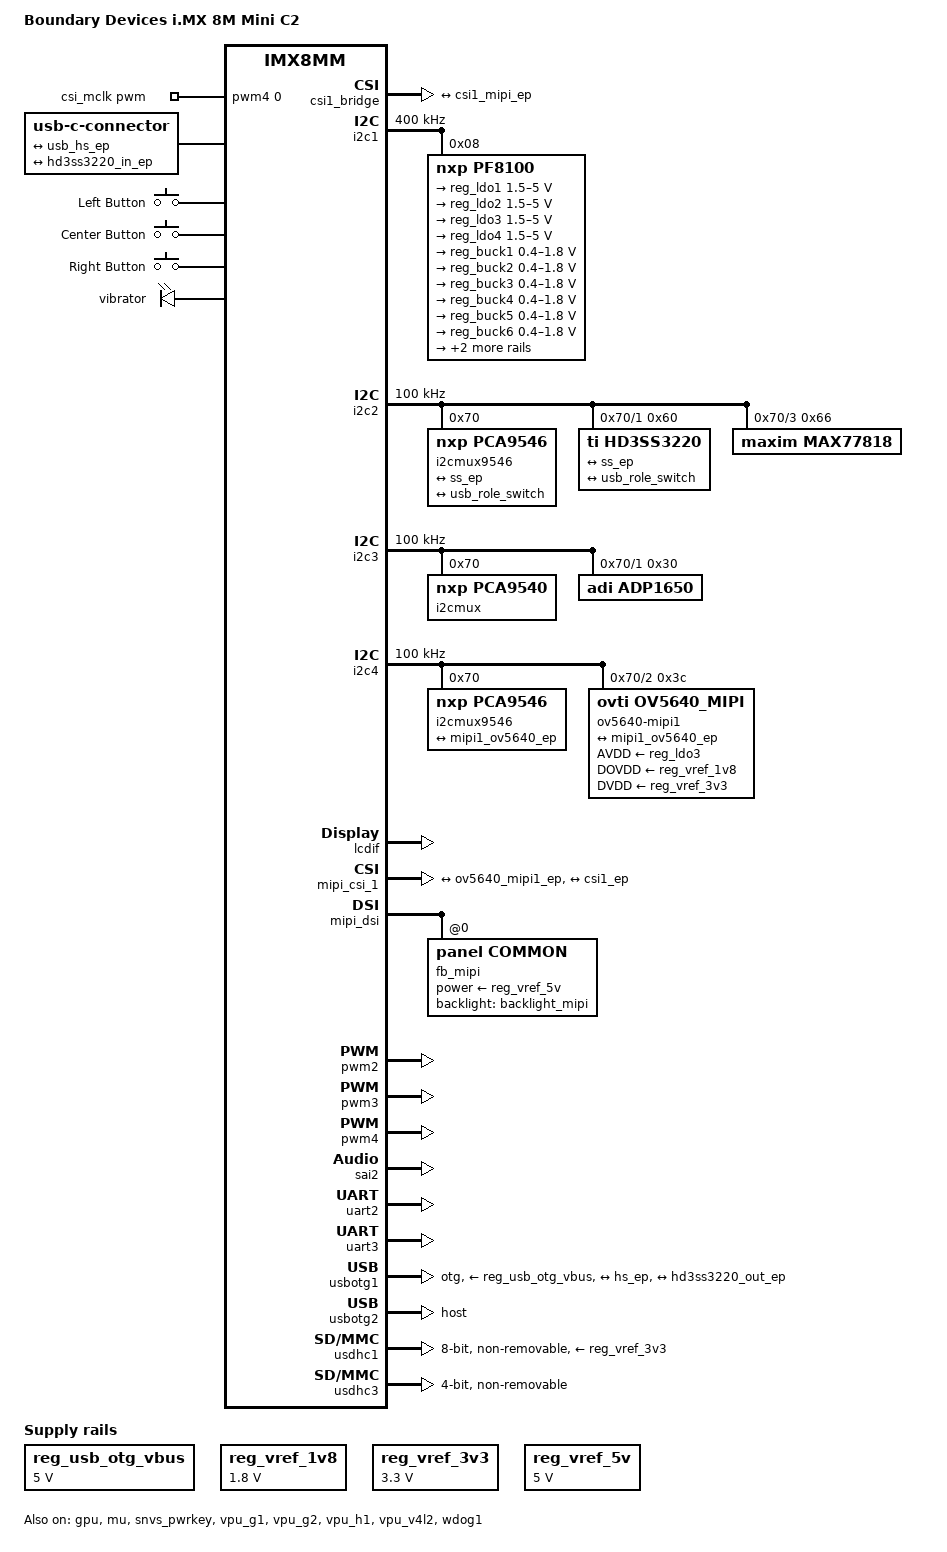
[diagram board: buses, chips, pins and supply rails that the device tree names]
// SPDX-License-Identifier: (GPL-2.0+ OR MIT)
/*
 * Copyright 2021 Boundary Devices
 */

/dts-v1/;
#include "imx8mm.dtsi"
#define MX8MMN(a, b)	MX8MM_##a b
#define IMX8MMN(a)	IMX8MM_##a
#include "../panel-dlc0350gev06.dtsi"

&iomuxc {
	pinctrl-names = "default";
	pinctrl-0 = <&pinctrl_hog>;

	pinctrl_bt_rfkill: bt-rfkillgrp {
		fsl,pins = <
#define GP_BT_RFKILL_RESET	<&gpio3 14 GPIO_ACTIVE_LOW>
			MX8MMN(IOMUXC_NAND_DQS_GPIO3_IO14, 0x119)
		>;
	};

	pinctrl_gpio_keys: gpio-keysgrp {
		fsl,pins = <
#define GP_GPIOKEY_LEFT		<&gpio3 6 GPIO_ACTIVE_LOW>
			MX8MMN(IOMUXC_NAND_DATA00_GPIO3_IO6, 0x149)
#define GP_GPIOKEY_CENTER	<&gpio1 8 GPIO_ACTIVE_LOW>
			MX8MMN(IOMUXC_GPIO1_IO08_GPIO1_IO8, 0x149)
#define GP_GPIOKEY_RIGHT	<&gpio1 6 GPIO_ACTIVE_LOW>
			MX8MMN(IOMUXC_GPIO1_IO06_GPIO1_IO6, 0x149)
		>;
	};

	pinctrl_hog: hoggrp {
		fsl,pins = <
			/* JS_PIN6 */
			MX8MMN(IOMUXC_GPIO1_IO14_GPIO1_IO14, 0x149)

			/* Finger Print */
#define GP_USBOTG2_EN  <&gpio3 23 GPIO_ACTIVE_HIGH>
            MX8MMN(IOMUXC_SAI5_RXD2_GPIO3_IO23, 0x09) /* SAI5_RXD2 */

                        MX8MMN(IOMUXC_SD2_DATA3_GPIO2_IO18, 0x9)
                        MX8MMN(IOMUXC_SD2_DATA2_GPIO2_IO17, 0x09)       /* Internal Pullup disabled  */
                        MX8MMN(IOMUXC_SD2_DATA1_GPIO2_IO16, 0x09)       /* Internal Pullup disabled  */
                        MX8MMN(IOMUXC_SD2_DATA0_GPIO2_IO15, 0x09)       /* Internal Pullup disabled  */
                        MX8MMN(IOMUXC_SAI5_RXFS_GPIO3_IO19, 0x109)

#define GP_REG_WLAN_VMMC        <&gpio5 1 GPIO_ACTIVE_HIGH>
                        MX8MMN(IOMUXC_SAI3_TXD_GPIO5_IO1, 0x16)
		>;
	};

	pinctrl_i2c1: i2c1grp {
		fsl,pins = <
			MX8MMN(IOMUXC_I2C1_SCL_I2C1_SCL, 0x400000c3)
			MX8MMN(IOMUXC_I2C1_SDA_I2C1_SDA, 0x400000c3)
		>;
	};

	pinctrl_i2c1_1: i2c1_1grp {
		fsl,pins = <
#define GP_I2C1_SCL	<&gpio5 14 GPIO_OPEN_DRAIN>
			MX8MMN(IOMUXC_I2C1_SCL_GPIO5_IO14, 0x400000c3)
#define GP_I2C1_SDA	<&gpio5 15 GPIO_OPEN_DRAIN>
			MX8MMN(IOMUXC_I2C1_SDA_GPIO5_IO15, 0x400000c3)
		>;
	};

	pinctrl_i2c1_pf8100: i2c1-pf8100grp {
		fsl,pins = <
#define GP_I2C1_PF8100_EWARN	<&gpio3 3 GPIO_ACTIVE_LOW>
			MX8MMN(IOMUXC_NAND_CE2_B_GPIO3_IO3, 0x149)
#define GP_I2C1_PF8100_FAULT	<&gpio3 4 GPIO_ACTIVE_LOW>
			MX8MMN(IOMUXC_NAND_CE3_B_GPIO3_IO4, 0x149)
		>;
	};

	pinctrl_i2c2: i2c2grp {
		fsl,pins = <
			MX8MMN(IOMUXC_I2C2_SCL_I2C2_SCL, 0x400000c3)
			MX8MMN(IOMUXC_I2C2_SDA_I2C2_SDA, 0x400000c3)
		>;
	};

        pinctrl_i2c2_pca9546: i2c2-pca9546grp {
                fsl,pins = <
#define GP_I2C2_PCA9546_RESET   <&gpio1 9 GPIO_ACTIVE_LOW>
                MX8MMN(IOMUXC_GPIO1_IO09_GPIO1_IO9, 0x106)
                >;
        };

	pinctrl_i2c2_1: i2c2_1grp {
		fsl,pins = <
#define GP_I2C2_SCL	<&gpio5 16 GPIO_OPEN_DRAIN>
			MX8MMN(IOMUXC_I2C2_SCL_GPIO5_IO16, 0x400000c3)
#define GP_I2C2_SDA	<&gpio5 17 GPIO_OPEN_DRAIN>
			MX8MMN(IOMUXC_I2C2_SDA_GPIO5_IO17, 0x400000c3)
		>;
	};

	pinctrl_i2c2_hd3ss3220: i2c2-hd3ss3220grp {
		fsl,pins = <
#define GPIRQ_HD3SS3220	<&gpio3 25 IRQ_TYPE_LEVEL_LOW>
			MX8MMN(IOMUXC_SAI5_MCLK_GPIO3_IO25, 0x1c0)
		>;
	};

	pinctrl_i2c2_max77818: i2c2-max77818grp {
		fsl,pins = <
#define GPIRQ_MAX77818_WCHG_VALID_INT	<&gpio5 0 IRQ_TYPE_LEVEL_LOW>
			MX8MMN(IOMUXC_SAI3_TXC_GPIO5_IO0, 0x149)
#define GPIRQ_MAX77818_CHG_INT          <&gpio1 5 IRQ_TYPE_LEVEL_LOW>
                        MX8MMN(IOMUXC_GPIO1_IO05_GPIO1_IO5, 0x149)
		>;
	};

	pinctrl_i2c3: i2c3grp {
		fsl,pins = <
			MX8MMN(IOMUXC_I2C3_SCL_I2C3_SCL, 0x400000c3)
			MX8MMN(IOMUXC_I2C3_SDA_I2C3_SDA, 0x400000c3)
		>;
	};

	pinctrl_i2c3_1: i2c3_1grp {
		fsl,pins = <
#define GP_I2C3_SCL	<&gpio5 18 GPIO_OPEN_DRAIN>
			MX8MMN(IOMUXC_I2C3_SCL_GPIO5_IO18, 0x400000c3)
#define GP_I2C3_SDA	<&gpio5 19 GPIO_OPEN_DRAIN>
			MX8MMN(IOMUXC_I2C3_SDA_GPIO5_IO19, 0x400000c3)
		>;
	};

	pinctrl_sn65dsi83: sn65dsi83grp {
		fsl,pins = <
#define GPIRQ_SN65DSI83	<&gpio1 1 IRQ_TYPE_LEVEL_HIGH>
			MX8MMN(IOMUXC_GPIO1_IO01_GPIO1_IO1, 0x04)
		>;
	};

	pinctrl_ts_gt911: ts-gt911grp {
		fsl,pins = <
#define GPIRQ_GT911 		<&gpio5 22 IRQ_TYPE_LEVEL_HIGH>
#define GP_GT911_IRQ 		<&gpio5 22 GPIO_ACTIVE_HIGH>
			MX8MMN(IOMUXC_UART1_RXD_GPIO5_IO22, 0x1d6)
			/* driver writes levels, instead of active/inactive */
#define GP_GT911_RESET		<&gpio5 23 GPIO_ACTIVE_HIGH>
			MX8MMN(IOMUXC_UART1_TXD_GPIO5_IO23, 0x149)
		>;
	};

	pinctrl_ts_ft5x06: ts-ft5x06grp {
		fsl,pins = <
#define GPIRQ_TS_FT5X06	<&gpio5 22 IRQ_TYPE_EDGE_FALLING>
#define GP_TS_FT5X06_WAKE	<&gpio5 22 GPIO_ACTIVE_LOW>
			MX8MMN(IOMUXC_UART1_RXD_GPIO5_IO22, 0x149)
#define GP_TS_FT5X06_RESET	<&gpio5 23 GPIO_ACTIVE_LOW>
			MX8MMN(IOMUXC_UART1_TXD_GPIO5_IO23, 0x109)
		>;
	};

	pinctrl_i2c3b_adp1650: i2c3b-adp1650grp {
		fsl,pins = <
#define GP_FLASH_EN		<&gpio3 21 GPIO_ACTIVE_HIGH>
			MX8MMN(IOMUXC_SAI5_RXD0_GPIO3_IO21, 0x109)
#define GP_FLASH_STROBE		<&gpio3 22 GPIO_ACTIVE_HIGH>
			MX8MMN(IOMUXC_SAI5_RXD1_GPIO3_IO22, 0x109)
#define GP_TORCH_EN		<&gpio5 29 GPIO_ACTIVE_HIGH>
			MX8MMN(IOMUXC_UART4_TXD_GPIO5_IO29, 0x109)
		>;
	};

	pinctrl_i2c4: i2c4grp {
		fsl,pins = <
			MX8MMN(IOMUXC_I2C4_SCL_I2C4_SCL, 0x400000c3)
			MX8MMN(IOMUXC_I2C4_SDA_I2C4_SDA, 0x400000c3)
		>;
	};

	pinctrl_i2c4_1: i2c4_1grp {
		fsl,pins = <
#define GP_I2C4_SCL	<&gpio5 20 GPIO_OPEN_DRAIN>
			MX8MMN(IOMUXC_I2C4_SCL_GPIO5_IO20, 0x400000c3)
#define GP_I2C4_SDA	<&gpio5 21 GPIO_OPEN_DRAIN>
			MX8MMN(IOMUXC_I2C4_SDA_GPIO5_IO21, 0x400000c3)
		>;
	};

	pinctrl_i2c4_ov5640_mipi: i2c4-ov5640-mipigrp {
		fsl,pins = <
#define GP_OV5640_MIPI_RESET		<&gpio1 10 GPIO_ACTIVE_LOW>
			MX8MMN(IOMUXC_GPIO1_IO10_GPIO1_IO10, 0x101)
#define GP_OV5640_MIPI_POWER_DOWN	<&gpio1 11 GPIO_ACTIVE_HIGH>
			MX8MMN(IOMUXC_GPIO1_IO11_GPIO1_IO11, 0x141)
		>;
	};

	pinctrl_leds: ledsgrp {
		fsl,pins = <
#define GP_LED_VIBRATOR		<&gpio3 24 GPIO_ACTIVE_HIGH>
			MX8MMN(IOMUXC_SAI5_RXD3_GPIO3_IO24, 0x109)
		>;
	};

	pinctrl_pwm2: pwm2grp {
		fsl,pins = <
			MX8MMN(IOMUXC_SPDIF_RX_PWM2_OUT, 0x16)
		>;
	};


	pinctrl_mipi_dlc0350gev06: mipi-dlc0350gev06grp {
		fsl,pins = <
/* Reset pin used as enable */
#define GP_DLC0350_ENABLE	<&gpio1 3 GPIO_ACTIVE_HIGH>
			MX8MMN(IOMUXC_GPIO1_IO03_GPIO1_IO3, 0x10)
		>;
	};


	pinctrl_pwm3: pwm3grp {
		fsl,pins = <
			MX8MMN(IOMUXC_SPDIF_TX_PWM3_OUT, 0x16)
		>;
	};

	pinctrl_pwm4: pwm4grp {
		fsl,pins = <
			MX8MMN(IOMUXC_SAI3_MCLK_PWM4_OUT, 0x16)
		>;
	};

	pinctrl_sai2: sai2grp {
		fsl,pins = <
			/* Bluetooth PCM */
			MX8MMN(IOMUXC_SAI2_TXFS_SAI2_TX_SYNC, 0xd6)
			MX8MMN(IOMUXC_SAI2_TXC_SAI2_TX_BCLK, 0xd6)
			MX8MMN(IOMUXC_SAI2_TXD0_SAI2_TX_DATA0, 0xd6)
			MX8MMN(IOMUXC_SAI2_RXD0_SAI2_RX_DATA0, 0xd6)
		>;
	};

	pinctrl_uart2: uart2grp {
		fsl,pins = <
			MX8MMN(IOMUXC_UART2_RXD_UART2_DCE_RX, 0x140)
			MX8MMN(IOMUXC_UART2_TXD_UART2_DCE_TX, 0x140)
		>;
	};

	pinctrl_uart3: uart3grp {
		fsl,pins = <
			MX8MMN(IOMUXC_ECSPI1_SCLK_UART3_DCE_RX, 0x140)
			MX8MMN(IOMUXC_ECSPI1_MOSI_UART3_DCE_TX, 0x140)
			MX8MMN(IOMUXC_ECSPI1_SS0_UART3_DCE_RTS_B, 0x140)
			MX8MMN(IOMUXC_ECSPI1_MISO_UART3_DCE_CTS_B, 0x140)
		>;
	};

	pinctrl_usbotg1: usbotg1grp {
		fsl,pins = <
			MX8MMN(IOMUXC_GPIO1_IO12_USB1_OTG_PWR, 0x16)
			MX8MMN(IOMUXC_GPIO1_IO13_USB1_OTG_OC, 0x156)
		>;
	};

	pinctrl_usdhc1: usdhc1grp {
		fsl,pins = <
			MX8MMN(IOMUXC_SD1_CLK_USDHC1_CLK, 0x190)
			MX8MMN(IOMUXC_SD1_CMD_USDHC1_CMD, 0x1d0)
			MX8MMN(IOMUXC_SD1_DATA0_USDHC1_DATA0, 0x1d0)
			MX8MMN(IOMUXC_SD1_DATA1_USDHC1_DATA1, 0x1d0)
			MX8MMN(IOMUXC_SD1_DATA2_USDHC1_DATA2, 0x1d0)
			MX8MMN(IOMUXC_SD1_DATA3_USDHC1_DATA3, 0x1d0)
			MX8MMN(IOMUXC_SD1_DATA4_USDHC1_DATA4, 0x1d0)
			MX8MMN(IOMUXC_SD1_DATA5_USDHC1_DATA5, 0x1d0)
			MX8MMN(IOMUXC_SD1_DATA6_USDHC1_DATA6, 0x1d0)
			MX8MMN(IOMUXC_SD1_DATA7_USDHC1_DATA7, 0x1d0)
#define GP_EMMC_RESET		<&gpio2 10 GPIO_ACTIVE_LOW>
			MX8MMN(IOMUXC_SD1_RESET_B_GPIO2_IO10, 0x141)
		>;
	};

	pinctrl_usdhc1_100mhz: usdhc1grp100mhz {
		fsl,pins = <
			MX8MMN(IOMUXC_SD1_CLK_USDHC1_CLK, 0x194)
			MX8MMN(IOMUXC_SD1_CMD_USDHC1_CMD, 0x1d4)
			MX8MMN(IOMUXC_SD1_DATA0_USDHC1_DATA0, 0x1d4)
			MX8MMN(IOMUXC_SD1_DATA1_USDHC1_DATA1, 0x1d4)
			MX8MMN(IOMUXC_SD1_DATA2_USDHC1_DATA2, 0x1d4)
			MX8MMN(IOMUXC_SD1_DATA3_USDHC1_DATA3, 0x1d4)
			MX8MMN(IOMUXC_SD1_DATA4_USDHC1_DATA4, 0x1d4)
			MX8MMN(IOMUXC_SD1_DATA5_USDHC1_DATA5, 0x1d4)
			MX8MMN(IOMUXC_SD1_DATA6_USDHC1_DATA6, 0x1d4)
			MX8MMN(IOMUXC_SD1_DATA7_USDHC1_DATA7, 0x1d4)
		>;
	};

	pinctrl_usdhc1_200mhz: usdhc1grp200mhz {
		fsl,pins = <
			MX8MMN(IOMUXC_SD1_CLK_USDHC1_CLK, 0x196)
			MX8MMN(IOMUXC_SD1_CMD_USDHC1_CMD, 0x1d6)
			MX8MMN(IOMUXC_SD1_DATA0_USDHC1_DATA0, 0x1d6)
			MX8MMN(IOMUXC_SD1_DATA1_USDHC1_DATA1, 0x1d6)
			MX8MMN(IOMUXC_SD1_DATA2_USDHC1_DATA2, 0x1d6)
			MX8MMN(IOMUXC_SD1_DATA3_USDHC1_DATA3, 0x1d6)
			MX8MMN(IOMUXC_SD1_DATA4_USDHC1_DATA4, 0x1d6)
			MX8MMN(IOMUXC_SD1_DATA5_USDHC1_DATA5, 0x1d6)
			MX8MMN(IOMUXC_SD1_DATA6_USDHC1_DATA6, 0x1d6)
			MX8MMN(IOMUXC_SD1_DATA7_USDHC1_DATA7, 0x1d6)
		>;
	};

	pinctrl_usdhc3: usdhc3grp {
		fsl,pins = <
			MX8MMN(IOMUXC_NAND_WE_B_USDHC3_CLK, 0x190)
			MX8MMN(IOMUXC_NAND_WP_B_USDHC3_CMD, 0x1d0)
			MX8MMN(IOMUXC_NAND_DATA04_USDHC3_DATA0, 0x1d0)
			MX8MMN(IOMUXC_NAND_DATA05_USDHC3_DATA1, 0x1d0)
			MX8MMN(IOMUXC_NAND_DATA06_USDHC3_DATA2, 0x1d0)
			MX8MMN(IOMUXC_NAND_DATA07_USDHC3_DATA3, 0x1d0)
			/* Bluetooth slow clock */
			MX8MMN(IOMUXC_GPIO1_IO00_ANAMIX_REF_CLK_32K, 0x03)
			MX8MMN(IOMUXC_SAI2_RXFS_GPIO4_IO21, 0x1c0)  /* wake host */
			MX8MMN(IOMUXC_GPIO1_IO04_GPIO1_IO4, 0x1c0)  /* bt wake */
		>;
	};

	pinctrl_usdhc3_100mhz: usdhc3grp100mhz {
		fsl,pins = <
			MX8MMN(IOMUXC_NAND_WE_B_USDHC3_CLK, 0x194)
			MX8MMN(IOMUXC_NAND_WP_B_USDHC3_CMD, 0x1d4)
			MX8MMN(IOMUXC_NAND_DATA04_USDHC3_DATA0, 0x1d4)
			MX8MMN(IOMUXC_NAND_DATA05_USDHC3_DATA1, 0x1d4)
			MX8MMN(IOMUXC_NAND_DATA06_USDHC3_DATA2, 0x1d4)
			MX8MMN(IOMUXC_NAND_DATA07_USDHC3_DATA3, 0x1d4)

			/* Bluetooth slow clock */
			MX8MMN(IOMUXC_GPIO1_IO00_ANAMIX_REF_CLK_32K, 0x03)
			MX8MMN(IOMUXC_SAI2_RXFS_GPIO4_IO21, 0x1c0)  /* wake host */
			MX8MMN(IOMUXC_GPIO1_IO04_GPIO1_IO4, 0x1c0)  /* bt wake */
		>;
	};

	pinctrl_usdhc3_200mhz: usdhc3grp200mhz {
		fsl,pins = <
			MX8MMN(IOMUXC_NAND_WE_B_USDHC3_CLK, 0x196)
			MX8MMN(IOMUXC_NAND_WP_B_USDHC3_CMD, 0x1d6)
			MX8MMN(IOMUXC_NAND_DATA04_USDHC3_DATA0, 0x1d6)
			MX8MMN(IOMUXC_NAND_DATA05_USDHC3_DATA1, 0x1d6)
			MX8MMN(IOMUXC_NAND_DATA06_USDHC3_DATA2, 0x1d6)
			MX8MMN(IOMUXC_NAND_DATA07_USDHC3_DATA3, 0x1d6)
			/* Bluetooth slow clock */
			MX8MMN(IOMUXC_GPIO1_IO00_ANAMIX_REF_CLK_32K, 0x03)
			MX8MMN(IOMUXC_SAI2_RXFS_GPIO4_IO21, 0x1c0)  /* wake host */
			MX8MMN(IOMUXC_GPIO1_IO04_GPIO1_IO4, 0x1c0)  /* bt wake */
		>;
	};

	pinctrl_wdog: wdoggrp {
		fsl,pins = <
			MX8MMN(IOMUXC_GPIO1_IO02_WDOG1_WDOG_B, 0x140)
		>;
	};
};

/ {
	model = "Boundary Devices i.MX 8M Mini C2";
	compatible = "boundary,imx8mm-c2", "fsl,imx8mm";

	aliases {
		backlight_mipi = &backlight_mipi;
		backlight_mipi_alt = &backlight_mipi_alt;
		fb_mipi = &fb_mipi;
		lcdif = &lcdif;
		mipi = &fb_mipi;
		mipi_dsi = &mipi_dsi;
		mipi_to_lvds = &mipi_to_lvds;
		pwm_mipi = &pwm3;
		t_mipi = &t_mipi;
		ts_ft5x06 = &ts_ft5x06;
		ts_goodix = &ts_goodix;
	};

	backlight_mipi: backlight-mipi {
		alias = <&backlight_mipi>;
		brightness-levels = <0 1 2 3 4 5 6 7 8 9 10>;
		compatible = "pwm-backlight";
		default-brightness-level = <8>;
		display = <&display_subsystem>;
		pwms = <&pwm2 0 30000 0>;		/* 33.3 Khz */
		status = "disabled";
	};

	backlight_mipi_alt: backlight-mipi-alt {
		alias = <&backlight_mipi_alt>;
		brightness-levels = <0 1 2 3 4 5 6 7 8 9 10>;
		compatible = "pwm-backlight";
		default-brightness-level = <8>;
		display = <&display_subsystem>;
		pwms = <&pwm3 0 30000 0>;		/* 33.3 Khz */
		status = "disabled";
	};

	bt-rfkill {
		compatible = "rfkill-gpio";
		pinctrl-names = "default";
		pinctrl-0 = <&pinctrl_bt_rfkill>;
		name = "bt-rfkill";
		type = "bluetooth"; //<2>; /* Bluetooth */
		reset-gpios = GP_BT_RFKILL_RESET;
		status = "okay";
	};

	aml_bt: aml_bt {
		compatible = "amlogic,aml-bt";
		status = "okay";
		reset-gpios = GP_BT_RFKILL_RESET;
	};

	csi_mclk: csi-mclk {
		compatible = "pwm-clock";
		#clock-cells = <0>;
		clock-frequency = <20000000>;
		clock-output-names = "csi_mclk";
		pwms = <&pwm4 0 50 0>; /* 1 / 50 ns = 20 MHz */
	};

	connector {
		compatible = "usb-c-connector";
		label = "USB-C";
		data-role = "dual";

		ports {
			#address-cells = <1>;
			#size-cells = <0>;

			port@0 {
				reg = <0>;
				hs_ep: endpoint {
					remote-endpoint = <&usb_hs_ep>;
				};
			};

			port@1 {
				reg = <1>;
				ss_ep: endpoint {
					remote-endpoint = <&hd3ss3220_in_ep>;
				};
			};
		};
	};

	gpio-keys {
		compatible = "gpio-keys";
		pinctrl-names = "default";
		pinctrl-0 = <&pinctrl_gpio_keys>;

		left {
			label = "Left Button";
			gpios = GP_GPIOKEY_LEFT;
			linux,code = <KEY_BACK>;
			gpio-key,wakeup;
		};

		center {
			label = "Center Button";
			gpios = GP_GPIOKEY_CENTER;
			linux,code = <KEY_MENU>;
			gpio-key,wakeup;
		};

		right {
			label = "Right Button";
			gpios = GP_GPIOKEY_RIGHT;
			linux,code = <KEY_FORWARD>;
			gpio-key,wakeup;
		};
	};

	leds: leds {
		compatible = "gpio-leds";
		pinctrl-names = "default";
		pinctrl-0 = <&pinctrl_leds>;

		vibrator {
			gpios = GP_LED_VIBRATOR;
			default-state = "off";
			linux,default-trigger = "transient";
		};
	};

        reg_usb_otg_vbus: regulator-usb-otg-vbus {
                compatible = "regulator-fixed";
                regulator-name = "usb_otg_vbus";
                regulator-min-microvolt = <5000000>;
                regulator-max-microvolt = <5000000>;
                regulator-boot-on;
                regulator-always-on;
        };

	reg_vref_1v8: regulator-vref-1v8 {
		compatible = "regulator-fixed";
		regulator-name = "vref-1v8";
		regulator-min-microvolt = <1800000>;
		regulator-max-microvolt = <1800000>;
	};

	reg_vref_3v3: regulator-vref-3v3 {
		compatible = "regulator-fixed";
		regulator-name = "vref-3v3";
		regulator-min-microvolt = <3300000>;
		regulator-max-microvolt = <3300000>;
	};

	reg_vref_5v: regulator-vref-5v {
		compatible = "regulator-fixed";
		regulator-name = "vref-5v";
		regulator-min-microvolt = <5000000>;
		regulator-max-microvolt = <5000000>;
	};
};

&A53_0 {
	cpu-supply = <&reg_buck3>;
};

&gpu {
	status = "okay";
};

&csi1_bridge {
	fsl,mipi-mode;
	status = "okay";

	port {
		csi1_ep: endpoint {
			remote-endpoint = <&csi1_mipi_ep>;
		};
	};
};

&i2c1 {
	clock-frequency = <400000>;
	pinctrl-names = "default", "gpio";
	pinctrl-0 = <&pinctrl_i2c1>;
	pinctrl-1 = <&pinctrl_i2c1_1>;
	scl-gpios = GP_I2C1_SCL;
	sda-gpios = GP_I2C1_SDA;
	status = "okay";

	pf8100@8 {
		compatible = "nxp,pf8100";
		pinctrl-names = "default";
		pinctrl-0 = <&pinctrl_i2c1_pf8100>;
		reg = <0x08>;

		regulators {
			reg_ldo1: ldo1 {
				regulator-always-on;
				regulator-boot-on;
				regulator-max-microvolt = <5000000>;
				regulator-min-microvolt = <1500000>;
			};

			reg_ldo2: ldo2 {
				regulator-always-on;
				regulator-boot-on;
				regulator-max-microvolt = <5000000>;
				regulator-min-microvolt = <1500000>;
#if 0
				/* vselect low is 3.3V, high is 1.8V */
				vselect-en;
#endif
			};

			reg_ldo3: ldo3 {
				regulator-always-on;
				regulator-boot-on;
				regulator-max-microvolt = <5000000>;
				regulator-min-microvolt = <1500000>;
			};

			reg_ldo4: ldo4 {
				regulator-always-on;
				regulator-boot-on;
				regulator-max-microvolt = <5000000>;
				regulator-min-microvolt = <1500000>;
			};

			reg_buck1: buck1 {
				nxp,phase-shift = <0>;
				regulator-max-microamp = <4500000>;
				regulator-always-on;
				regulator-boot-on;
				regulator-max-microvolt = <1800000>;
				regulator-min-microvolt =  <400000>;
			};

			reg_buck2: buck2 {
				regulator-always-on;
				regulator-boot-on;
				regulator-max-microvolt = <1800000>;
				regulator-min-microvolt =  <400000>;
			};

			reg_buck3: buck3 {
				regulator-always-on;
				regulator-boot-on;
				regulator-max-microvolt = <1800000>;
				regulator-min-microvolt =  <400000>;
				fast-slew = <1>;
			};

			reg_buck4: buck4 {
				regulator-always-on;
				regulator-boot-on;
				regulator-max-microvolt = <1800000>;
				regulator-min-microvolt =  <400000>;
				fast-slew = <1>;
			};

			reg_buck5: buck5 {
				regulator-always-on;
				regulator-boot-on;
				regulator-max-microvolt = <1800000>;
				regulator-min-microvolt =  <400000>;
			};

			reg_buck6: buck6 {
				regulator-always-on;
				regulator-boot-on;
				regulator-max-microvolt = <1800000>;
				regulator-min-microvolt =  <400000>;
			};

			reg_buck7: buck7 {
				regulator-always-on;
				regulator-boot-on;
				regulator-max-microvolt = <4100000>;
				regulator-min-microvolt = <1000000>;
			};

			reg_vsnvs: vsnvs {
				regulator-always-on;
				regulator-boot-on;
				regulator-max-microvolt = <3300000>;
				regulator-min-microvolt = <1800000>;
			};
		};
	};
};

&i2c2 {
        clock-frequency = <100000>;
        pinctrl-names = "default", "gpio";
        pinctrl-0 = <&pinctrl_i2c2>;
        pinctrl-1 = <&pinctrl_i2c2_1>;
        scl-gpios = GP_I2C2_SCL;
        sda-gpios = GP_I2C2_SDA;
        status = "okay";

        i2cmux9546@70 {
                pinctrl-names = "default";
                pinctrl-0 = <&pinctrl_i2c2_pca9546>;
                compatible = "nxp,pca9546";
                reg = <0x70>;
                reset-gpios = GP_I2C2_PCA9546_RESET;
                #address-cells = <1>;
                #size-cells = <0>;
                status = "okay";

                i2c2a: i2c2@0 {
                        clock-frequency = <100000>;
                        reg = <0>;
                        #address-cells = <1>;
                        #size-cells = <0>;
                };

                i2c2b: i2c2@1 {
                        clock-frequency = <100000>;
                        reg = <1>;
                        #address-cells = <1>;
                        #size-cells = <0>;
                };

                i2c2c: i2c2@2 {
                        clock-frequency = <100000>;
                        reg = <2>;
                        #address-cells = <1>;
                        #size-cells = <0>;
                };

                i2c2d: i2c2@3 {
                        clock-frequency = <100000>;
                        reg = <3>;
                        #address-cells = <1>;
                        #size-cells = <0>;
                };
        };
};

&i2c2a {

};

&i2c2b {
        hd3ss3220@60 {
                compatible = "ti,hd3ss3220";
                interrupts-extended = GPIRQ_HD3SS3220;
                pinctrl-names = "default";
                pinctrl-0 = <&pinctrl_i2c2_hd3ss3220>;
                reg = <0x60>;

                ports {
                        #address-cells = <1>;
                        #size-cells = <0>;

                        port@0 {
                                reg = <0>;
                                hd3ss3220_in_ep: endpoint {
                                        remote-endpoint = <&ss_ep>;
                                };
                        };

                        port@1 {
                                reg = <1>;
                                hd3ss3220_out_ep: endpoint {
                                        remote-endpoint = <&usb_role_switch>;
                                };
                        };
                };
        };
};

&i2c2c {

};

&i2c2d {
        max77818@66 {
                compatible = "maxim,max77818";
                pinctrl-names = "default";
                pinctrl-0 = <&pinctrl_i2c2_max77818>;
                reg = <0x66>;
                interrupts-extended = GPIRQ_MAX77818_CHG_INT;
                max77823,irq-gpio = GPIRQ_MAX77818_CHG_INT;
                max77823,wakeup = <1>;
                status = "okay";

		charger {
			compatible = "maxim,max77818-charger";
			status = "okay";
			fast_charge_timer = <0>;
			fast_charge_current = <2000>;
			charge_termination_voltage = <4250>;
			topoff_timer = <0>;
			topoff_current = <200>;
			restart_threshold = <150>;
			input_current_limit = <2000>;
		};
		fuelgauge {
			compatible = "maxim,max77818-fuelgauge";
			fuelgauge,fuel_alert_soc = <2>;
		};
        };
};

&i2c3 {
	clock-frequency = <100000>;
	pinctrl-names = "default", "gpio";
	pinctrl-0 = <&pinctrl_i2c3>;
	pinctrl-1 = <&pinctrl_i2c3_1>;
	scl-gpios = GP_I2C3_SCL;
	sda-gpios = GP_I2C3_SDA;
	status = "okay";

	i2cmux@70 {
		compatible = "nxp,pca9540";
		reg = <0x70>;
		#address-cells = <1>;
		#size-cells = <0>;

		i2c3a: i2c3@0 {
			reg = <0>;
			#address-cells = <1>;
			#size-cells = <0>;
		};

		i2c3b: i2c3@1 {
			reg = <1>;
			#address-cells = <1>;
			#size-cells = <0>;
		};
	};
};

&i2c3a {
	ts_ft5x06: touchscreen@38 {
		compatible = "edt,ft5x06-ts";
		interrupts-extended = GPIRQ_TS_FT5X06;
		pinctrl-names = "default";
		pinctrl-0 = <&pinctrl_ts_ft5x06>;
		reg = <0x38>;
		reset-gpios = GP_TS_FT5X06_RESET;
		status = "disabled";
		wakeup-gpios = GP_TS_FT5X06_WAKE;
	};

	ts_goodix: touchscreen@5d {
		compatible = "goodix,gt9271";
		display = <&display_subsystem>;
		esd-recovery-timeout-ms = <2000>;
		interrupts-extended = GPIRQ_GT911;
		irq-gpios = GP_GT911_IRQ;
		pinctrl-names = "default";
		pinctrl-0 = <&pinctrl_ts_gt911>;
		reg = <0x5d>;
		reset-gpios = GP_GT911_RESET;
		status = "disabled";
	};
};

&i2c3b {
	adp1650@30 {
		compatible = "adi,adp1650";
		pinctrl-names = "default";
		pinctrl-0 = <&pinctrl_i2c3b_adp1650>;
		reg = <0x30>;
		enable-gpios = GP_FLASH_EN;
		strobe-gpios = GP_FLASH_STROBE;
		torch-gpios = GP_TORCH_EN;
	};
};

&i2c4 {
        clock-frequency = <100000>;
        pinctrl-names = "default", "gpio";
        pinctrl-0 = <&pinctrl_i2c4>;
        pinctrl-1 = <&pinctrl_i2c4_1>;
        scl-gpios = GP_I2C4_SCL;
        sda-gpios = GP_I2C4_SDA;
        status = "okay";

        i2cmux9546@70 {
                compatible = "nxp,pca9546";
                reg = <0x70>;
                #address-cells = <1>;
                #size-cells = <0>;
                status = "okay";

                i2c4a: i2c4@0 {
                        clock-frequency = <100000>;
                        reg = <0>;
                        #address-cells = <1>;
                        #size-cells = <0>;
                };

                i2c4b: i2c4@1 {
                        clock-frequency = <100000>;
                        reg = <1>;
                        #address-cells = <1>;
                        #size-cells = <0>;
                };

                i2c4c: i2c4@2 {
                        clock-frequency = <100000>;
                        reg = <2>;
                        #address-cells = <1>;
                        #size-cells = <0>;
                };

                i2c4d: i2c4@3 {
                        clock-frequency = <100000>;
                        reg = <3>;
                        #address-cells = <1>;
                        #size-cells = <0>;
                };
        };
};

&i2c4a {
};

&i2c4b {
};

&i2c4c {
        ov5640-mipi1@3c {
                AVDD-supply = <&reg_ldo3>;
                DOVDD-supply = <&reg_vref_1v8>;
                DVDD-supply = <&reg_vref_3v3>;
                clocks = <&csi_mclk>;
                clock-names = "csi_mclk";
                compatible = "ovti,ov5640_mipi";
                csi_id = <0>;
                mclk = <20000000>;
		mclk_source = <0>;
                mipi_csi;
                pinctrl-names = "default";
                pinctrl-0 = <&pinctrl_i2c4_ov5640_mipi>;
                pwn-gpios = GP_OV5640_MIPI_POWER_DOWN;
                reg = <0x3c>;
                rst-gpios = GP_OV5640_MIPI_RESET;
                status = "okay";

                port {
                        ov5640_mipi1_ep: endpoint {
                                remote-endpoint = <&mipi1_ov5640_ep>;
                        };
                };
        };
};

&i2c4d {

};

&lcdif {
	status = "okay";
};

&mipi_csi_1 {
	#address-cells = <1>;
	#size-cells = <0>;
	status = "okay";
	port {
		mipi1_ov5640_ep: endpoint@1 {
			remote-endpoint = <&ov5640_mipi1_ep>;
			data-lanes = <2>;
			csis-hs-settle = <13>;
			csis-clk-settle = <2>;
			csis-wclk;
		};

		csi1_mipi_ep: endpoint@2 {
			remote-endpoint = <&csi1_ep>;
		};
	};
};

&mipi_dsi {
	assigned-clocks = <&clk IMX8MMN(CLK_DSI_CORE)>,
			  <&clk IMX8MMN(CLK_DSI_PHY_REF)>,
			  <&clk IMX8MMN(VIDEO_PLL1_REF_SEL)>,
			  <&clk IMX8MMN(CLK_LCDIF_PIXEL)>;
	assigned-clock-parents = <&clk IMX8MMN(SYS_PLL1_266M)>,
				 <&clk IMX8MMN(VIDEO_PLL1_OUT)>,
				 <&clk IMX8MMN(CLK_24M)>;
	assigned-clock-rates = <266000000>, <0>, <0>, <66000000>;

	status = "okay";

	fb_mipi: panel@0 {
		backlight = <&backlight_mipi>;
		bits-per-color = <8>;
		bridge-de-active = <0>;
		bus-format = "rgb888";
		clocks = <&mipi_dsi 0>,
			<&clk IMX8MMN(CLK_LCDIF_PIXEL)>;
		clock-names = "mipi_clk", "pixel_clock";
		compatible = "panel,common";
		dsi-format = "rgb888";
		dsi-lanes = <4>;
		mode-skip-eot;
		mode-video;
		mode-video-burst;
		panel-height-mm = <136>;
		panel-width-mm = <217>;
		pinctrl-names = "dlc_panel_reset_pin";
		pinctrl-0 = <&pinctrl_mipi_dlc0350gev06>;
		power-supply = <&reg_vref_5v>;
		reg = <0>;
        /*In IDENTV2 board don't have mipi to lvds bridge */
		//sn65dsi83 = <&mipi_to_lvds>;
		spwg;

		display-timings {
			t_mipi: t-dsi-default {
				/* m101nwwb by default */
				clock-frequency = <66000000>;
				hactive = <960>;
				vactive = <640>;
				hback-porch =<60>;
				hfront-porch = <40>;
				vback-porch = <16>;
				vfront-porch = <13>;
				hsync-len = <5>;
				vsync-len = <8>;
				hsync-active = <0>;
				vsync-active = <0>;
				de-active = <1>;
			};
		};

		mipi_to_lvds: mipi-to-lvds {
			alias = <&mipi_to_lvds>;
			enable-gpios = GP_DLC0350_ENABLE;
			i2c-address = <0x2c>;
			i2c-bus = <&i2c3a>;
			//interrupts-extended = GPIRQ_SN65DSI83;
			status = "disabled";
		};
	};
};

&mu {
	status = "okay";
};

&pgc_vpumix {
	dvfs-supply = <&reg_buck5>;
	idle-microvolt = <850000 805000 900000>;
};

&pwm2 {
	pinctrl-names = "default";
	pinctrl-0 = <&pinctrl_pwm2>;
	status = "okay";
};

&pwm3 {
	pinctrl-names = "default";
	pinctrl-0 = <&pinctrl_pwm3>;
	status = "okay";
};

&pwm4 {
	assigned-clocks = <&clk IMX8MMN(CLK_PWM4)>;
	assigned-clock-parents = <&clk IMX8MMN(SYS_PLL1_40M)>;
	assigned-clock-rates = <40000000>;
	pinctrl-names = "default";
	pinctrl-0 = <&pinctrl_pwm4>;
	status = "okay";
};

&sai2 {
	pinctrl-names = "default";
	pinctrl-0 = <&pinctrl_sai2>;
	status = "okay";
};

&snvs_pwrkey {
	status = "okay";
};

&uart2 { /* console */
	pinctrl-names = "default";
	pinctrl-0 = <&pinctrl_uart2>;
	assigned-clocks = <&clk IMX8MMN(CLK_UART2)>;
	assigned-clock-parents = <&clk IMX8MMN(CLK_24M)>;
	status = "okay";
};

&uart3 { /* BT */
	pinctrl-names = "default";
	pinctrl-0 = <&pinctrl_uart3>;
	assigned-clocks = <&clk IMX8MMN(CLK_UART3)>;
	assigned-clock-parents = <&clk IMX8MMN(SYS_PLL1_80M)>;
	uart-has-rtscts;
	status = "okay";
};

&usbotg1 {
        dr_mode = "otg";
        disable-over-current;
        usb-role-switch;
        vbus-supply = <&reg_usb_otg_vbus>;
        status = "okay";

        ports {
                #address-cells = <1>;
                #size-cells = <0>;

                port@0 {
                        reg = <0>;
                        usb_hs_ep: endpoint {
                                remote-endpoint = <&hs_ep>;
                        };
                };

                port@1 {
                        reg = <1>;
                        usb_role_switch: endpoint {
                                remote-endpoint = <&hd3ss3220_out_ep>;
                        };
                };
        };
};

&usbotg2 {
	dr_mode = "host";
	disable-over-current;
	power-active-high;
	status = "okay";
};

&usdhc1 {
	bus-width = <8>;
	no-mmc-hs400;
	non-removable;
	pinctrl-names = "default", "state_100mhz", "state_200mhz";
	pinctrl-0 = <&pinctrl_usdhc1>;
	pinctrl-1 = <&pinctrl_usdhc1_100mhz>;
	pinctrl-2 = <&pinctrl_usdhc1_200mhz>;
	status = "okay";
	vmmc-supply = <&reg_vref_3v3>;
	vqmmc-1-8-v;
	vqmmc-supply = <&reg_vref_1v8>;
};

&usdhc3 {
	bus-width = <4>;
	fsl,sdio-async-interrupt-enabled;
	keep-power-in-suspend;
	no-sd-uhs-sdr104;
	non-removable;
	pinctrl-names = "default", "state_100mhz", "state_200mhz";
	pinctrl-0 = <&pinctrl_usdhc3>;
	pinctrl-1 = <&pinctrl_usdhc3_100mhz>;
	pinctrl-2 = <&pinctrl_usdhc3_200mhz>;
	pm-ignore-notify;
	status = "okay";
	vqmmc-1-8-v;
	vqmmc-supply = <&reg_vref_1v8>;
};

&vpu_g1 {
	status = "okay";
};

&vpu_g2 {
	status = "okay";
};

&vpu_h1 {
	status = "okay";
};

&vpu_v4l2 {
	status = "okay";
};


&wdog1 {
	pinctrl-names = "default";
	pinctrl-0 = <&pinctrl_wdog>;
	fsl,ext-reset-output;
	status = "okay";
};
